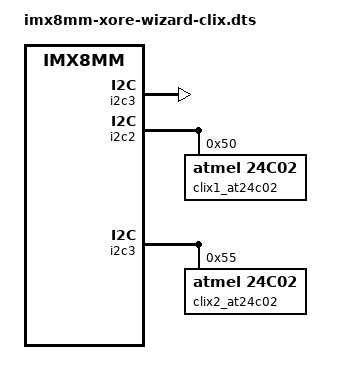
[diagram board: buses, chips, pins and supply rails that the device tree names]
/*
 * Copyright 2018 TechNexion Ltd.
 * Copyright 2018 NXP
 *
 * Author: Andy Lin <andy.lin@technexion.com>
 *
 * This program is free software; you can redistribute it and/or
 * modify it under the terms of the GNU General Public License
 * as published by the Free Software Foundation; either version 2
 * of the License, or (at your option) any later version.
 *
 * This program is distributed in the hope that it will be useful,
 * but WITHOUT ANY WARRANTY; without even the implied warranty of
 * MERCHANTABILITY or FITNESS FOR A PARTICULAR PURPOSE.  See the
 * GNU General Public License for more details.
 */

/dts-v1/;

#include "imx8mm-xore-wizard.dts"

/ {
	i2c3 {
		status = "okay";	
	};
};

/* CLIX1 EEPROM */
&i2c2 {
	clix1_at24c02: eeprom@50 {
		compatible = "atmel,24c02";
		reg = <0x50>;
		pagesize = <32>;
	};
};

/* CLIX2 EEPROM */
&i2c3 {
	clix2_at24c02: eeprom@55 {
		compatible = "atmel,24c02";
		reg = <0x55>;
		pagesize = <32>;
	};
};

&iomuxc {
	pinctrl-names = "default";

	imx8mm-xore {

		pinctrl_clix_gpio {
			fsl,pins = <
				MX8MM_IOMUXC_ECSPI2_SCLK_GPIO5_IO10	0x116
				MX8MM_IOMUXC_ECSPI2_MOSI_GPIO5_IO11	0x116
				MX8MM_IOMUXC_ECSPI2_MISO_GPIO5_IO12	0x116
				MX8MM_IOMUXC_ECSPI2_SS0_GPIO5_IO13	0x116

				/* CLIX1 GPIO */
				MX8MM_IOMUXC_SAI1_MCLK_GPIO4_IO20	0x116 /* CLIX1_RST */
				MX8MM_IOMUXC_SAI1_RXFS_GPIO4_IO0	0x116 /* CLIX1_INT0 */
				MX8MM_IOMUXC_SPDIF_TX_GPIO5_IO3		0x116 /* CLIX1_INT`1 */

				/* CLIX2 GPIO */
				MX8MM_IOMUXC_SAI1_RXC_GPIO4_IO1		0x116 /* CLIX2_RST */
				MX8MM_IOMUXC_SAI5_MCLK_GPIO3_IO25	0x116 /* CLIX2_INT0 */
				MX8MM_IOMUXC_GPIO1_IO15_GPIO1_IO15	0x116 /* CLIX2_INT1 */
			>;
		};
	};
};

&sai1 {
	status = "disabled";
};

&sai5 {
	status = "disabled";
};

&pwm3 {
	status = "disabled";
};

&pwm4 {
	status = "disabled";
};

&ecspi2 {
	status = "disabled";
};

